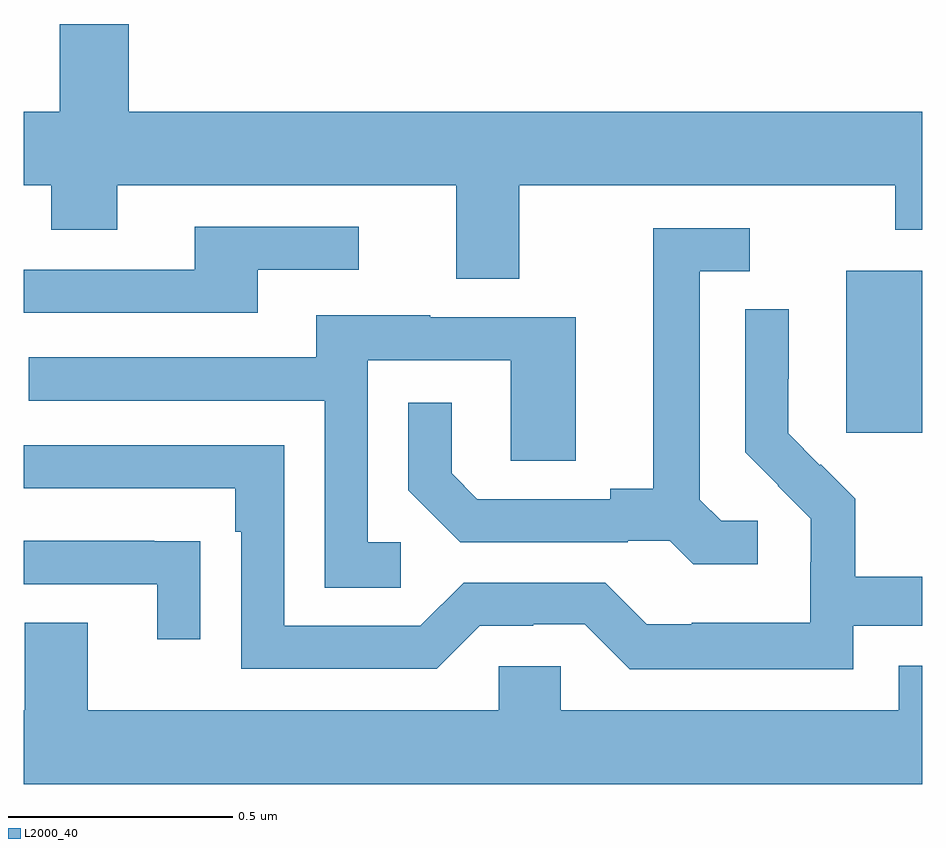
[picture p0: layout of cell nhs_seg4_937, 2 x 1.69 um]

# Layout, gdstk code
import gdstk
lib = gdstk.Library(unit=1e-6, precision=1e-09)
def R(c, l, rs):  # rectangles x0, y0, x1, y1
    for r in rs: c.add(gdstk.rectangle(r[:2], r[2:], *l))
def P(c, l, *ps):  # polygons
    for p in ps: c.add(gdstk.Polygon(p, *l))
L2000_40 = (2000, 40)

nhs_seg4_937 = lib.new_cell('nhs_seg4_937')
R(nhs_seg4_937, L2000_40, [(123.83,786.945,124,787.306)])
P(nhs_seg4_937, L2000_40, [(123.103,787.496),(123.94,787.496),(123.94,787.397),(124,787.397),(124,787.66),(122.234,787.66),(122.234,787.855),(122.081,787.855),(122.081,787.66),(122,787.66),(122,787.496),(122.062,787.496),(122.062,787.397),(122.209,787.397),(122.209,787.496),(122.963,787.496),(122.963,787.288),(123.103,787.288)],
  [(122.521,787.308),(122.746,787.308),(122.746,787.404),(122.381,787.404),(122.381,787.308),(122,787.308),(122,787.212),(122.521,787.212)],
  [(123.634,786.75),(123.552,786.75),(123.505,786.797),(123.505,787.305),(123.616,787.305),(123.616,787.401),(123.401,787.401),(123.401,786.821),(123.305,786.821),(123.305,786.798),(123.01,786.798),(122.953,786.855),(122.953,787.012),(122.856,787.012),(122.856,786.818),(122.972,786.702),(123.344,786.702),(123.344,786.705),(123.438,786.705),(123.49,786.653),(123.634,786.653)],
  [(123.846,786.516),(124,786.516),(124,786.625),(123.851,786.625),(123.851,786.799),(123.774,786.876),(123.771,786.873),(123.701,786.944),(123.701,787.066),(123.702,787.066),(123.702,787.22),(123.606,787.22),(123.606,786.902),(123.679,786.829),(123.678,786.828),(123.752,786.754),(123.752,786.657),(123.75,786.657),(123.75,786.523),(123.487,786.523),(123.487,786.519),(123.387,786.519),(123.294,786.612),(122.979,786.612),(122.883,786.516),(122.58,786.516),(122.58,786.918),(122,786.918),(122,786.822),(122.471,786.822),(122.471,786.725),(122.484,786.725),(122.484,786.42),(122.919,786.42),(123.015,786.516),(123.134,786.516),(123.134,786.519),(123.249,786.519),(123.349,786.419),(123.846,786.419)],
  [(122.839,786.702),(122.766,786.702),(122.766,787.107),(123.084,787.107),(123.084,786.883),(123.229,786.883),(123.229,787.203),(122.905,787.203),(122.905,787.207),(122.651,787.207),(122.651,787.113),(122.011,787.113),(122.011,787.017),(122.67,787.017),(122.67,786.601),(122.839,786.601)],
  [(122.393,786.704),(122.291,786.704),(122.291,786.705),(122,786.705),(122,786.609),(122.297,786.609),(122.297,786.486),(122.393,786.486)],
  [(124,786.427),(123.947,786.427),(123.947,786.328),(123.195,786.328),(123.195,786.426),(123.057,786.426),(123.057,786.328),(122.143,786.328),(122.143,786.523),(122.003,786.523),(122.003,786.328),(122,786.328),(122,786.164),(124,786.164)])

lib.write_gds('nhs_seg4_937.gds')
